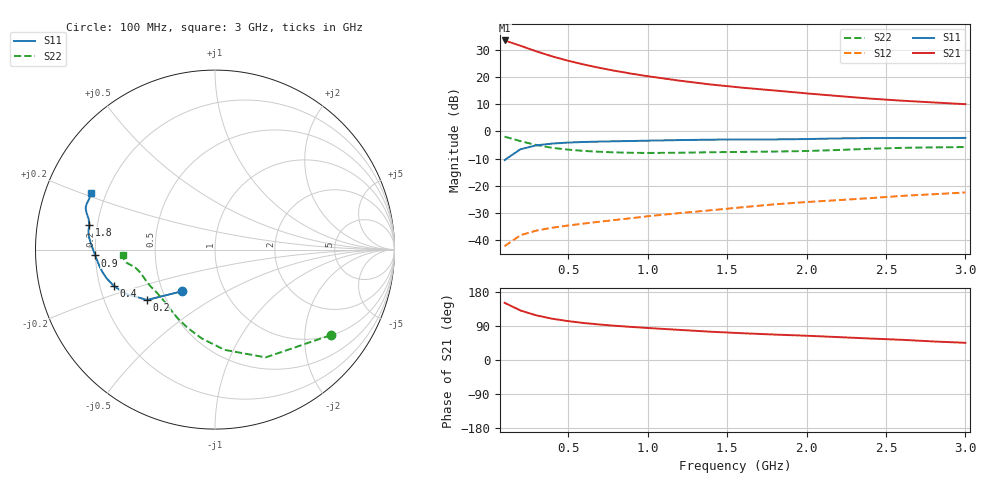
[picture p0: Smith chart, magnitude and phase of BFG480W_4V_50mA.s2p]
! Filename: 450BFG480.001
! Title: BFG480W
! Bias: Vce=4V; Ic=50mA
! Company: Philips Semiconductors NL
! User: Quality&Reliability T&D
! Measure time: 10 Nov 1999 / 12:02:59
#  MHz  S  MA  R 50
! Freq  S11  S21  S12  S22  :
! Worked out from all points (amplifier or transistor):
!   20 points, 100 MHz to 3 GHz, reference 50 ohm
!   highest |S21| = 33.7 dB at 100 MHz (marker M1)
!   |S21| within 3 dB of that: start of sweep to 250.3 MHz
!   unconditionally stable (mu >= 1): 954.9 MHz to end of sweep
!   at 400 MHz: K = 0.65, MSG = 31.7 dB, |S12| = -35.6 dB
!   at 1.2 GHz: K = 1.05, MAG = 23.1 dB, |S12| = -30.2 dB
!   at 3 GHz: K = 1.06, MAG = 14.9 dB, |S12| = -22.6 dB
!   S11 on the Smith chart (normalised r, x): 100 MHz: 0.63, -0.32; 200 MHz: 0.39, -0.28; 400 MHz: 0.26, -0.16; 900 MHz: 0.20, -0.02; 1.8 GHz: 0.17, +0.10; 3 GHz: 0.14, +0.21
100  0.2968 -128.5  48.15 150.9  0.007593 66.1  0.8017 -36.5
200  0.4707 -143.4  38.43 130.6  0.01211 56.3  0.6639 -64.8
300  0.5549 -153.6  30.28 117.7  0.01474 53.0  0.5613 -84.5
400  0.5987 -160.2  24.43 108.9  0.01667 52.5  0.4994 -98.8
500  0.6243 -165.1  20.31 102.5  0.01831 53.6  0.4617 -109.4
600  0.6402 -168.9  17.24 97.6  0.01989 55.3  0.4376 -117.6
700  0.651 -172.1  14.95 93.6  0.02154 57.2  0.4215 -124.0
800  0.6597 -174.8  13.14 90.1  0.02324 59.3  0.4107 -129.4
900  0.668 -177.2  11.69 87.2  0.02503 61.6  0.4042 -134.1
1000  0.6768 -179.4  10.52 84.5  0.02712 63.2  0.4013 -138.3
1200  0.6934 177.0  8.702 79.5  0.031 66.0  0.4049 -145.2
1400  0.7061 174.2  7.378 74.6  0.03505 68.0  0.4135 -150.5
1600  0.7126 171.6  6.436 70.6  0.0399 69.7  0.4194 -154.4
1800  0.714 168.8  5.722 67.1  0.04512 71.1  0.4258 -158.4
2000  0.7246 166.3  5.064 64.0  0.04968 72.4  0.4361 -163.1
2200  0.7447 164.0  4.522 60.4  0.05389 72.9  0.4548 -167.2
2400  0.7575 162.1  4.057 56.7  0.05865 72.8  0.4794 -169.9
2600  0.7595 160.4  3.709 53.3  0.06456 72.6  0.4989 -171.6
2800  0.7559 158.1  3.442 48.9  0.06931 71.6  0.5083 -173.6
3000  0.7611 155.4  3.196 45.4  0.07455 71.1  0.516 -176.6
